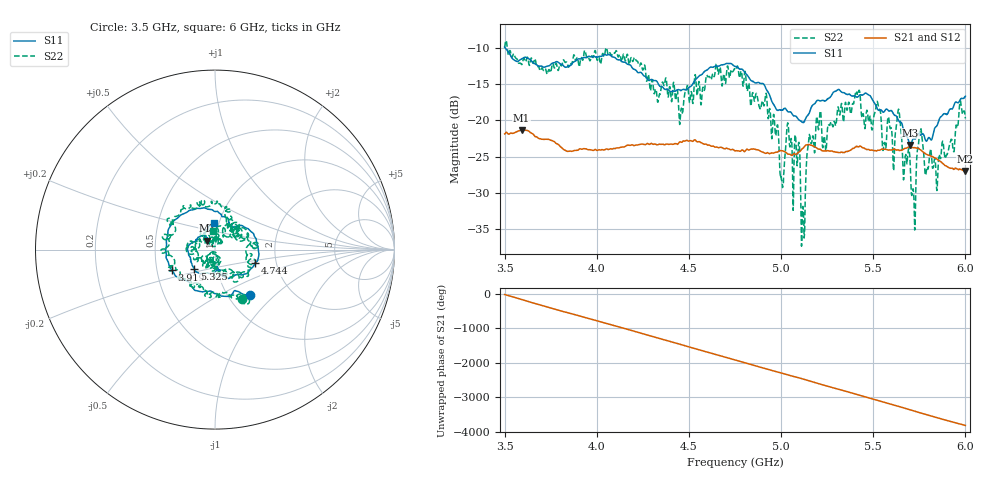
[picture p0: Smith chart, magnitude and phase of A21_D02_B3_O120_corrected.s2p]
! Created with skrf 1.9.0 (http://scikit-rf.org).
# Hz S RI R 50.0
!freq ReS11 ImS11 ReS21 ImS21 ReS12 ImS12 ReS22 ImS22
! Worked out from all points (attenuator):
!   1601 points, 3.5 GHz to 6 GHz, reference 50 ohm
!   highest |S21| = -21.32 dB at 3.592 GHz (marker M1); lowest = -27.0 dB at 6 GHz (marker M2)
!   lowest |S11| = -23.4 dB at 5.702 GHz (marker M3), VSWR 1.15, Z = 45.5 + j4.62 ohm
!   |S11| at or under -10 dB: 3.502 GHz to end of sweep
!   |S22| runs from -37.3 to -9.0 dB; largest |S21 - S12| = 0.0011
!   S11 on the Smith chart (normalised r, x): 3.5 GHz: 1.26, -0.71; 3.919 GHz: 0.60, -0.15; 4.744 GHz: 1.55, -0.25; 5.325 GHz: 0.78, -0.17; 6 GHz: 0.95, +0.28
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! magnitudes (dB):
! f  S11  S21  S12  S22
! 3.5 GHz  -9.9  -21.9  -21.9  -10.0
! 3.592 GHz  -11.5  -21.3  -21.3  -12.3
! 3.917 GHz  -11.5  -24.0  -24.0  -11.4
! 3.919 GHz  -11.5  -24.0  -24.0  -11.5
! 4.334 GHz  -15.1  -23.3  -23.3  -17.2
! 4.458 GHz  -15.9  -23.0  -23.0  -18.5
! 4.744 GHz  -12.5  -24.1  -24.0  -13.1
! 4.75 GHz  -12.6  -24.2  -24.1  -13.0
! 4.927 GHz  -16.0  -24.4  -24.4  -18.7
! 5.005 GHz  -18.6  -24.2  -24.2  -28.4
! 5.034 GHz  -18.7  -24.6  -24.5  -20.5
! 5.088 GHz  -19.7  -24.6  -24.5  -26.2
! 5.119 GHz  -20.3  -23.8  -23.8  -31.8
! 5.167 GHz  -18.0  -23.5  -23.4  -22.9
! 5.325 GHz  -16.1  -24.4  -24.3  -18.0
! 5.584 GHz  -18.7  -24.1  -24.1  -19.7
! 5.639 GHz  -20.1  -24.1  -24.1  -18.6
! 5.702 GHz  -23.4  -23.8  -23.8  -26.7
! 5.719 GHz  -22.5  -23.8  -23.7  -29.9
! 5.755 GHz  -22.0  -24.0  -24.0  -21.1
! 5.839 GHz  -20.9  -25.2  -25.2  -26.5
! 6 GHz  -16.7  -27.0  -26.9  -19.7
